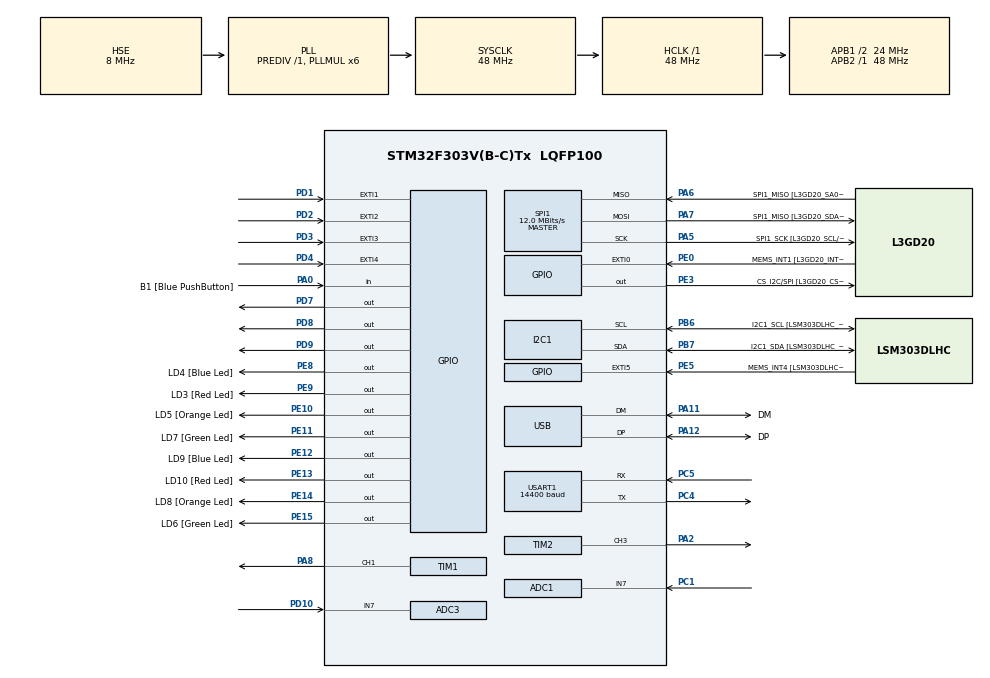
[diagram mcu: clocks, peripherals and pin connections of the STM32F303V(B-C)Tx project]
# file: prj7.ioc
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ADC1.Channel-1\#ChannelRegularConversion=ADC_CHANNEL_7
ADC1.NbrOfConversionFlag=1
ADC1.Offset-1\#ChannelRegularConversion=0
ADC1.OffsetNumber-1\#ChannelRegularConversion=ADC_OFFSET_NONE
ADC1.Rank-1\#ChannelRegularConversion=1
ADC1.SamplingTime-1\#ChannelRegularConversion=ADC_SAMPLETIME_1CYCLE_5
ADC1.SamplingTimeOPAMP-1\#ChannelRegularConversion=ADC_SAMPLETIME_19CYCLES_5
ADC1.master=1
ADC3.Channel-1\#ChannelRegularConversion=ADC_CHANNEL_7
ADC3.NbrOfConversionFlag=1
ADC3.Offset-1\#ChannelRegularConversion=0
ADC3.OffsetNumber-1\#ChannelRegularConversion=ADC_OFFSET_NONE
ADC3.Rank-1\#ChannelRegularConversion=1
ADC3.SamplingTime-1\#ChannelRegularConversion=ADC_SAMPLETIME_1CYCLE_5
ADC3.SamplingTimeOPAMP-1\#ChannelRegularConversion=ADC_SAMPLETIME_19CYCLES_5
ADC3.master=1
I2C1.Timing=0x2000090E
I2C1.Timing-I2C=0x2000090E
Mcu.Family=STM32F3
Mcu.Name=STM32F303V(B-C)Tx
Mcu.Package=LQFP100
NVIC.EXTI1_IRQn=true\:0\:0\:false\:false\:true\:true\:true\:true
NVIC.EXTI2_TSC_IRQn=true\:0\:0\:false\:false\:true\:true\:true\:true
NVIC.EXTI3_IRQn=true\:0\:0\:false\:false\:true\:true\:true\:true
NVIC.EXTI4_IRQn=true\:0\:0\:false\:false\:true\:true\:true\:true
NVIC.PriorityGroup=NVIC_PRIORITYGROUP_0
NVIC.TIM1_UP_TIM16_IRQn=true\:0\:0\:false\:false\:true\:true\:true\:true
NVIC.TIM6_DAC_IRQn=true\:0\:0\:false\:false\:true\:true\:true\:true
NVIC.TIM7_IRQn=true\:0\:0\:false\:false\:true\:true\:true\:true
NVIC.USART1_IRQn=true\:0\:0\:false\:false\:true\:true\:true\:true
PA0.GPIO_Label=B1 [Blue PushButton]
PA0.Signal=GPIO_Input
PA11.GPIO_Label=DM
PA11.Mode=Device
PA11.Signal=USB_DM
PA12.GPIO_Label=DP
PA12.Mode=Device
PA12.Signal=USB_DP
PA13.GPIO_Label=SWDIO
PA13.Mode=Serial_Wire
PA13.Signal=SYS_JTMS-SWDIO
PA14.GPIO_Label=SWCLK
PA14.Mode=Serial_Wire
PA14.Signal=SYS_JTCK-SWCLK
PA2.Signal=S_TIM2_CH3
PA5.GPIO_Label=SPI1_SCK [L3GD20_SCL/SPC]
PA5.Mode=Full_Duplex_Master
PA5.Signal=SPI1_SCK
PA6.GPIO_Label=SPI1_MISO [L3GD20_SA0/SDO]
PA6.Mode=Full_Duplex_Master
PA6.Signal=SPI1_MISO
PA7.GPIO_Label=SPI1_MISO [L3GD20_SDA/SDI/SDO]
PA7.Mode=Full_Duplex_Master
PA7.Signal=SPI1_MOSI
PA8.Signal=S_TIM1_CH1
PB3.GPIO_Label=SWO
PB3.Signal=SYS_JTDO-TRACESWO
PB6.GPIO_Label=I2C1_SCL [LSM303DLHC_SCL]
PB6.GPIO_Pu=GPIO_PULLUP
PB6.Mode=I2C
PB6.Signal=I2C1_SCL
PB7.GPIO_Label=I2C1_SDA [LSM303DLHC_SDA]
PB7.GPIO_Pu=GPIO_PULLUP
PB7.Mode=I2C
PB7.Signal=I2C1_SDA
PC1.Signal=ADCx_IN7
PC14-OSC32_IN.GPIO_Label=OSC32_IN
PC14-OSC32_IN.Signal=RCC_OSC32_IN
PC15-OSC32_OUT.GPIO_Label=OSC32_OUT
PC15-OSC32_OUT.Signal=RCC_OSC32_OUT
PC4.Mode=Asynchronous
PC4.Signal=USART1_TX
PC5.Mode=Asynchronous
PC5.Signal=USART1_RX
PD1.GPIO_ModeDefaultEXTI=GPIO_MODE_IT_RISING_FALLING
PD1.GPIO_PuPd=GPIO_PULLDOWN
PD1.Signal=GPXTI1
PD10.Signal=ADCx_IN7P
PD2.GPIO_ModeDefaultEXTI=GPIO_MODE_IT_RISING_FALLING
PD2.GPIO_PuPd=GPIO_PULLDOWN
PD2.Signal=GPXTI2
PD3.GPIO_ModeDefaultEXTI=GPIO_MODE_IT_RISING_FALLING
PD3.GPIO_PuPd=GPIO_PULLDOWN
PD3.Signal=GPXTI3
PD4.Signal=GPXTI4
PD7.GPIO_PuPd=GPIO_NOPULL
PD7.PinState=GPIO_PIN_RESET
PD7.Signal=GPIO_Output
PD8.Signal=GPIO_Output
PD9.Signal=GPIO_Output
PE0.GPIO_Label=MEMS_INT1 [L3GD20_INT1]
PE0.GPIO_ModeDefaultEXTI=GPIO_MODE_EVT_RISING
PE0.Signal=GPXTI0
PE10.GPIO_Label=LD5 [Orange Led]
PE10.Signal=GPIO_Output
PE11.GPIO_Label=LD7 [Green Led]
PE11.Signal=GPIO_Output
PE12.GPIO_Label=LD9 [Blue Led]
PE12.Signal=GPIO_Output
PE13.GPIO_Label=LD10 [Red Led]
PE13.Signal=GPIO_Output
PE14.GPIO_Label=LD8 [Orange Led]
PE14.Signal=GPIO_Output
PE15.GPIO_Label=LD6 [Green Led]
PE15.Signal=GPIO_Output
PE3.GPIO_Label=CS_I2C/SPI [L3GD20_CS_I2C/SPI]
PE3.Signal=GPIO_Output
PE5.GPIO_Label=MEMS_INT4 [LSM303DLHC_INT2]
PE5.GPIO_ModeDefaultEXTI=GPIO_MODE_EVT_RISING
PE5.Signal=GPXTI5
PE8.GPIO_Label=LD4 [Blue Led]
PE8.Signal=GPIO_Output
PE9.GPIO_Label=LD3 [Red Led]
PE9.Signal=GPIO_Output
PF0-OSC_IN.GPIO_Label=OSC_IN
PF0-OSC_IN.Mode=HSE-External-Clock-Source
PF0-OSC_IN.Signal=RCC_OSC_IN
PF1-OSC_OUT.GPIO_Label=OSC_OUT
PF1-OSC_OUT.Signal=RCC_OSC_OUT
ProjectManager.HeapSize=0x200
ProjectManager.StackSize=0x400
ProjectManager.TargetToolchain=STM32CubeIDE
RCC.AHBFreq_Value=48000000
RCC.APB1CLKDivider=RCC_HCLK_DIV2
RCC.APB1Freq_Value=24000000
RCC.APB1TimFreq_Value=48000000
RCC.APB2Freq_Value=48000000
RCC.APB2TimFreq_Value=48000000
RCC.CortexFreq_Value=48000000
RCC.HCLKFreq_Value=48000000
RCC.HSE_VALUE=8000000
RCC.HSI_VALUE=8000000
RCC.LSE_VALUE=32768
RCC.PLLMUL=RCC_PLL_MUL6
RCC.SYSCLKFreq_VALUE=48000000
RCC.SYSCLKSourceVirtual=RCC_SYSCLKSOURCE_PLLCLK
RCC.USBFreq_Value=48000000
SH.ADCx_IN7.0=ADC1_IN7,IN7-Single-Ended
SH.ADCx_IN7P.0=ADC3_IN7,IN7-Single-Ended
SH.S_TIM1_CH1.0=TIM1_CH1,PWM Generation1 CH1
SH.S_TIM2_CH3.0=TIM2_CH3,PWM Generation3 CH3
SPI1.BaudRatePrescaler=SPI_BAUDRATEPRESCALER_4
SPI1.BaudRatePrescaler-Full_Duplex_Master=SPI_BAUDRATEPRESCALER_2
SPI1.CalculateBaudRate=12.0 MBits/s
SPI1.CalculateBaudRate-Full_Duplex_Master=24.0 MBits/s
SPI1.Direction=SPI_DIRECTION_2LINES
SPI1.Mode=SPI_MODE_MASTER
SPI1.Mode-Full_Duplex_Master=SPI_MODE_MASTER
SPI1.VirtualType=VM_MASTER
TIM1.Channel-PWM\ Generation1\ CH1=TIM_CHANNEL_1
TIM16.Period=100-1
TIM16.Prescaler=4800-1
TIM2.Channel-PWM\ Generation3\ CH3=TIM_CHANNEL_3
TIM6.Period=100-1
TIM6.Prescaler=4800-1
TIM7.Period=100-1
TIM7.Prescaler=4800-1
USART1.BaudRate=14400
USART1.VirtualMode-Asynchronous=VM_ASYNC
VP_TIM16_VS_ClockSourceINT.Mode=Enable_Timer
VP_TIM1_VS_ClockSourceINT.Mode=Internal
VP_TIM2_VS_ClockSourceINT.Mode=Internal
VP_TIM6_VS_ClockSourceINT.Mode=Enable_Timer
VP_TIM7_VS_ClockSourceINT.Mode=Enable_Timer
board=STM32F3DISCOVERY

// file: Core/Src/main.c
/* USER CODE BEGIN Header */
/**
  ******************************************************************************
  * @file           : main.c
  * @brief          : Main program body
  ******************************************************************************
  * @attention
  *
  * Copyright (c) 2024 STMicroelectronics.
  * All rights reserved.
  *
  * This software is licensed under terms that can be found in the LICENSE file
  * in the root directory of this software component.
  * If no LICENSE file comes with this software, it is provided AS-IS.
  *
  ******************************************************************************
  */
/* USER CODE END Header */
#include "main.h"

/* USER CODE BEGIN Includes */
#include <string.h>
#include <ctype.h>
#include <stdlib.h>
#include <math.h>
/* USER CODE END Includes */

/* USER CODE BEGIN PD */
#define DEBOUNCE_TIME 100
#define PI 3.14159265
/* USER CODE END PD */

ADC_HandleTypeDef hadc1;
ADC_HandleTypeDef hadc3;

I2C_HandleTypeDef hi2c1;

SPI_HandleTypeDef hspi1;

TIM_HandleTypeDef htim1;
TIM_HandleTypeDef htim2;
TIM_HandleTypeDef htim6;
TIM_HandleTypeDef htim7;
TIM_HandleTypeDef htim16;

UART_HandleTypeDef huart1;

PCD_HandleTypeDef hpcd_USB_FS;

void SystemClock_Config(void);
static void MX_GPIO_Init(void);
static void MX_I2C1_Init(void);
static void MX_SPI1_Init(void);
static void MX_USB_PCD_Init(void);
static void MX_USART1_UART_Init(void);
static void MX_TIM6_Init(void);
static void MX_ADC1_Init(void);
static void MX_ADC3_Init(void);
static void MX_TIM2_Init(void);
static void MX_TIM1_Init(void);
static void MX_TIM7_Init(void);
static void MX_TIM16_Init(void);

/* USER CODE BEGIN 0 */
uint8_t data[100];
uint8_t d;
uint8_t i = 0;
int state = 0;
char real_username[5];
char real_password[100];
char userinput_password[100];
int real_password_length = 0;
int real_password_ptr = 0;
int userinput_pass_ptr = 0;
int ldr_threshold = 500;
int is_day = 1;
int volume  = 500;
int wrong_input = 0;
TIM_HandleTypeDef *pwm_timer2  = &htim2;
TIM_HandleTypeDef *pwm_timer1 = &htim1;
uint32_t pwm_channel3 = TIM_CHANNEL_3;
uint32_t pwm_channel1 = TIM_CHANNEL_1;

int led3_last_enter_time  = 0;
int led3_intensity = 0;
int buz_last_enter_time = 0;
int freq = 0;
int buzzer_mode = 1;
int cnt_buzzer = 0;

void PWM_Start(){
	HAL_TIM_PWM_Start(pwm_timer2,pwm_channel3);
	HAL_TIM_PWM_Start(pwm_timer1,pwm_channel1);
}

void PWM_Change_Tone(uint16_t pwm_freq,uint16_t volume){
	if (pwm_freq == 0 || pwm_freq > 20000){
		__HAL_TIM_SET_COMPARE(pwm_timer2,pwm_channel3,0);
	}
	else{
		const uint32_t internal_clock_freq = HAL_RCC_GetSysClockFreq();
		const uint16_t prescaler = 1 + internal_clock_freq / pwm_freq / 60000;
		const uint32_t timer_clock = internal_clock_freq / prescaler;
		const uint32_t period_cycles = timer_clock / pwm_freq;
		const uint32_t pulse_width = volume * period_cycles / 1000 / 2;

		pwm_timer2->Instance->PSC = prescaler - 1;
		pwm_timer2->Instance->ARR = period_cycles - 1;
		pwm_timer2->Instance->EGR = TIM_EGR_UG;
		__HAL_TIM_SET_COMPARE(pwm_timer2,pwm_channel3,pulse_width);
	}
}

void PWM_Change_LED (uint16_t intensity){ // 0 to 1000
	if (intensity < 0 || intensity > 1000){
		return;
	}
	else{
	__HAL_TIM_SET_COMPARE(pwm_timer1,pwm_channel1,intensity);
	}
}

void state1_uart (int i){ // waiting for entering username for the first time
	if (i == 5){
		if (isalpha(data[0]) && isalpha(data[1]) && isalpha(data[2]) && isalpha(data[3])){
			real_username[0] = data[0];
			real_username[1] = data[1];
			real_username[2] = data[2];
			real_username[3] = data[3];
			real_username[4] = '\0';
			state = 2;
			char response[] = "NOW ENTER YOUR PASSWORD !\n";
			HAL_UART_Transmit(&huart1, response, strlen(response), HAL_MAX_DELAY);
		}
		else{
			char error[] = "INVALID USERNAME! MUST BE ALPHABETIC \n";
			HAL_UART_Transmit(&huart1, error, strlen(error), HAL_MAX_DELAY);
		}
	}
	else{
		char error[] = "INVALID USERNAME! MUST BE SIZE 4\n";
		HAL_UART_Transmit(&huart1, error, strlen(error), HAL_MAX_DELAY);
	}
}

void state2_uart (int i){ // waiting for entering password for the first time
	if (i == 5){
		if (data[0] == 'd' && data[1] == 'o' && data[2] == 'n'  && data[3] == 'e'){
			if (real_password_ptr < 3){
				char error[] = "INVALID PASSWORD! MUST BE AT LEAST SIZE 3 - PLEASE TRY AGAIN\n";
				HAL_UART_Transmit(&huart1, error, strlen(error), HAL_MAX_DELAY);
				real_password_ptr = 0;
			}
			else{
				real_password_length = real_password_ptr;
				real_password[real_password_ptr] = '\0';
				char response[200];
				sprintf(response,"PASSWORD SET TO : %s\n\0", real_password);
				HAL_UART_Transmit(&huart1, response, strlen(response), HAL_MAX_DELAY);
				state = 3;
				char response2[] = "MENU :\n1 - ON\n2 - OFF\n";
				HAL_UART_Transmit(&huart1, response2, strlen(response2), HAL_MAX_DELAY);
			}
		}
		else{
			char error[] = "INVALID COMMAND\n";
			HAL_UART_Transmit(&huart1, error, strlen(error), HAL_MAX_DELAY);
		}
	}
	else{
		char error[] = "INVALID COMMAND\n";
		HAL_UART_Transmit(&huart1, error, strlen(error), HAL_MAX_DELAY);
	}
}

void state3_uart (int i){ // menu ; can on or off system
	if (i == 3){
		if (data[0] = 'O' && data[1] == 'N'){
			char response[] = "PLEASE ENTER USERNAME :\n";
			HAL_UART_Transmit(&huart1, response, strlen(response), HAL_MAX_DELAY);
			state = 5;
		}
		else{
			char error[] = "INVALID COMMAND\n";
			HAL_UART_Transmit(&huart1, error, strlen(error), HAL_MAX_DELAY);
		}
	}
	else if (i == 4){
		if (data[0] == 'O' && data[1] == 'F' && data[2] == 'F'){
			char response[] = "SYSTEM IS NOW OFF!\nFOR TURNING ON SYSTEM,ENTER COMMAND -ON\n";
			HAL_UART_Transmit(&huart1, response, strlen(response), HAL_MAX_DELAY);
			state = 4;
		}
		else{
			char error[] = "INVALID COMMAND\n";
			HAL_UART_Transmit(&huart1, error, strlen(error), HAL_MAX_DELAY);
		}
	}
	else{
		char error[] = "INVALID COMMAND\n";
		HAL_UART_Transmit(&huart1, error, strlen(error), HAL_MAX_DELAY);
	}
}

void state4_uart (int i){ // in off mode ; waiting for on mode
	if (i == 3){
		if (data[0] == 'O'  && data[1] == 'N'){
			state = 5;
			char response[] = "PLEASE ENTER USERNAME : \n";
			HAL_UART_Transmit(&huart1, response, strlen(response), HAL_MAX_DELAY);
		}
		else{
			char error[] = "INVALID COMMAND\n";
			HAL_UART_Transmit(&huart1, error, strlen(error), HAL_MAX_DELAY);
		}
	}
	else{
		char error[] = "INVALID COMMAND\n";
		HAL_UART_Transmit(&huart1, error, strlen(error), HAL_MAX_DELAY);
	}
}

void state5_uart (int i){ // entered on ; waiting for enter username
	if (i == 5){
		if (data[0] == real_username[0] && data[1] == real_username[1] && data[2] == real_username[2] && data[3] == real_username[3] ){
			char response[] = "PLEASE ENTER PASSWORD WITH BUTTONS THEN ENTER done :\n";
			HAL_UART_Transmit(&huart1, response, strlen(response), HAL_MAX_DELAY);
			state = 6;
		}
		else{
			char error[] = "INVALID USERNAME\n";
			HAL_UART_Transmit(&huart1, error, strlen(error), HAL_MAX_DELAY);
		}
	}
	else{
		char error[] = "INVALID USERNAME\n";
		HAL_UART_Transmit(&huart1, error, strlen(error), HAL_MAX_DELAY);
	}
}

void state6_uart (int i){ // entered on then entered correct username , now waiting for enter correct password
	if (i == 5){
		char check[] = "done";
		if ( strncmp (data,check,4) == 0){
			userinput_password[userinput_pass_ptr] = '\0';
			if (userinput_pass_ptr == real_password_length){
				if (strncmp (userinput_password,real_password,real_password_length) == 0){
					char response [] = "SYSTEM IS NOW ON ! ENJOY SECURITY !\n";
					HAL_UART_Transmit(&huart1, response, strlen(response), HAL_MAX_DELAY);
					state = 7;
					userinput_pass_ptr = 0;
				}
				else{
					userinput_password[userinput_pass_ptr] = '\0';
					userinput_pass_ptr = 0;
					char error [100] ;
					sprintf (error,"%s PASSWORD IS NOT CORRECT ! TRY AGAIN \n",userinput_password);
					HAL_UART_Transmit(&huart1, error, strlen(error), HAL_MAX_DELAY);
				}
			}
			else{
				userinput_password[userinput_pass_ptr] = '\0';
				userinput_pass_ptr = 0;
				char error [100] ;
				sprintf (error,"%s PASSWORD IS NOT CORRECT ! TRY AGAIN \n",userinput_password);
				HAL_UART_Transmit(&huart1, error, strlen(error), HAL_MAX_DELAY);
			}
		}
		else{
			char error[] = "INVALID COMMAND\n";
			HAL_UART_Transmit(&huart1, error, strlen(error), HAL_MAX_DELAY);
		}
	}
	else{
		char error[] = "INVALID COMMAND\n";
		HAL_UART_Transmit(&huart1, error, strlen(error), HAL_MAX_DELAY);
	}
}

void state7_uart (int i) { // system is on ; not alert mode ;
	if (i == 4){
		if (data[0] == 'O' && data[1] == 'F' && data[2] == 'F'){
			char response[] = "SYSTEM IS NOW OFF \n";
			HAL_UART_Transmit(&huart1, response, strlen(response), HAL_MAX_DELAY);
			state = 4;
		}
		else{
			char error[] = "INVALID-COMMAN\nD";
			HAL_UART_Transmit(&huart1, error, strlen(error), HAL_MAX_DELAY);
		}
	}
	else if (i >= 17 && i <= 19){
		char check[] = "SET-THRESHOLD";
		if (strncmp (data,check,13) == 0){
			if (data[13] == '(' && data[i-2] == ')'){
				int flag = 0 ;
				for (int ii = 14 ; ii < i-2 ; ii++){
					if (!isdigit(data[ii])){
						flag = 1;
					}
				}
				if (flag){
					char error[] = "VALUE MUST BE NUMERIC !\n";
					HAL_UART_Transmit(&huart1, error, strlen(error), HAL_MAX_DELAY);
				}
				else{
					if (i == 17){
						int result = (data[14]-'0');
						ldr_threshold = result*10;
						char response[100];
						sprintf(response,"THRESHOLD SET TO %lu\n",result);
						HAL_UART_Transmit(&huart1, response, strlen(response), HAL_MAX_DELAY);
					}
					else if (i == 18){
						int result  = (data[14]-'0')*10;
						result += (data[15]-'0');
						ldr_threshold = result*10;
						char response[100];
						sprintf(response,"THRESHOLD SET TO %lu\n",result);
						HAL_UART_Transmit(&huart1, response, strlen(response), HAL_MAX_DELAY);
					}
					else{
						int result  = (data[14]-'0')*100;
						result += (data[15]-'0')*10;
						result += (data[16]-'0');
						if (result > 100){
							char error[] = "VALUE MUST BE IN RANGE (0,100)\n";
							HAL_UART_Transmit(&huart1, error, strlen(error), HAL_MAX_DELAY);
						}
						else{
							char response[100];
							sprintf(response,"THRESHOLD SET TO %lu\n",result);
							HAL_UART_Transmit(&huart1, response, strlen(response), HAL_MAX_DELAY);
							ldr_threshold = result * 10;
						}
					}
				}
			}
			else{
				char error[] = "FORGOT PARANTHESIS\n";
				HAL_UART_Transmit(&huart1, error, strlen(error), HAL_MAX_DELAY);
			}
		}
		else{
			char error[] = "INVALID-COMMAND\n";
			HAL_UART_Transmit(&huart1, error, strlen(error), HAL_MAX_DELAY);
		}
	}
	else{
		char error[] = "INVALID-COMMAND\n";
		HAL_UART_Transmit(&huart1, error, strlen(error), HAL_MAX_DELAY);
	}
}

void state8_uart(int i){ // alert mode ; day ; waiting for username enter
	if (i == 5){
		if (data[0] == real_username[0] && data[1] == real_username[1] && data[2] == real_username[2] && data[3] == real_username[3] ){
			char response[] = "PLEASE ENTER PASSWORD WITH BUTTONS THEN ENTER done :\n";
			HAL_UART_Transmit(&huart1, response, strlen(response), HAL_MAX_DELAY);
			state = 9;
		}
		else{
			wrong_input++;
			char error[] = "INVALID USERNAME\n";
			HAL_UART_Transmit(&huart1, error, strlen(error), HAL_MAX_DELAY);
		}
	}
	else{
		wrong_input++;
		char error[] = "INVALID USERNAME\n";
		HAL_UART_Transmit(&huart1, error, strlen(error), HAL_MAX_DELAY);
	}
}

void state9_uart(int i){ // alert mode ; day  waiting for password
	if (i == 5){
		char check[] = "done";
		if ( strncmp (data,check,4) == 0){
			userinput_password[userinput_pass_ptr] = '\0';
			if (userinput_pass_ptr == real_password_length){
				if (strncmp (userinput_password,real_password,real_password_length) == 0){
					char response [] = "SYSTEM IS NOW ON ! ENJOY SECURITY !\n";
					HAL_UART_Transmit(&huart1, response, strlen(response), HAL_MAX_DELAY);
					state = 7;
					userinput_pass_ptr = 0;
					wrong_input = 0;
				}
				else{
					userinput_password[userinput_pass_ptr] = '\0';
					userinput_pass_ptr = 0;
					char error [100] ;
					sprintf (error,"%s PASSWORD IS NOT CORRECT ! TRY AGAIN \n",userinput_password);
					HAL_UART_Transmit(&huart1, error, strlen(error), HAL_MAX_DELAY);
					wrong_input++;
				}
			}
			else{
				userinput_password[userinput_pass_ptr] = '\0';
				userinput_pass_ptr = 0;
				char error [100] ;
				sprintf (error,"%s PASSWORD IS NOT CORRECT ! TRY AGAIN \n",userinput_password);
				HAL_UART_Transmit(&huart1, error, strlen(error), HAL_MAX_DELAY);
				wrong_input++;
			}
		}
		else{
			char error[] = "INVALID COMMAND\n";
			HAL_UART_Transmit(&huart1, error, strlen(error), HAL_MAX_DELAY);
		}
	}
	else{
		char error[] = "INVALID COMMAND\n";
		HAL_UART_Transmit(&huart1, error, strlen(error), HAL_MAX_DELAY);
	}
}

void state10_uart (int i){
	if (i == 5){
		if (data[0] == real_username[0] && data[1] == real_username[1] && data[2] == real_username[2] && data[3] == real_username[3] ){
			char response[] = "PLEASE ENTER PASSWORD WITH BUTTONS THEN ENTER done :\n";
			HAL_UART_Transmit(&huart1, response, strlen(response), HAL_MAX_DELAY);
			state = 11;
		}
		else{
			wrong_input++;
			char error[] = "INVALID USERNAME\n";
			HAL_UART_Transmit(&huart1, error, strlen(error), HAL_MAX_DELAY);
		}
	}
	else{
		wrong_input++;
		char error[] = "INVALID USERNAME\n";
		HAL_UART_Transmit(&huart1, error, strlen(error), HAL_MAX_DELAY);
	}
}

void state11_uart (int i){
	if (i == 5){
		char check[] = "done";
		if ( strncmp (data,check,4) == 0){
			userinput_password[userinput_pass_ptr] = '\0';
			if (userinput_pass_ptr == real_password_length){
				if (strncmp (userinput_password,real_password,real_password_length) == 0){
					char response [] = "SYSTEM IS NOW ON ! ENJOY SECURITY !\n";
					HAL_UART_Transmit(&huart1, response, strlen(response), HAL_MAX_DELAY);
					state = 7;
					userinput_pass_ptr = 0;
					wrong_input = 0;
				}
				else{
					userinput_password[userinput_pass_ptr] = '\0';
					userinput_pass_ptr = 0;
					char error [100] ;
					sprintf (error,"%s PASSWORD IS NOT CORRECT ! TRY AGAIN \n",userinput_password);
					HAL_UART_Transmit(&huart1, error, strlen(error), HAL_MAX_DELAY);
					wrong_input++;
				}
			}
			else{
				userinput_password[userinput_pass_ptr] = '\0';
				userinput_pass_ptr = 0;
				char error [100] ;
				sprintf (error,"%s PASSWORD IS NOT CORRECT ! TRY AGAIN \n",userinput_password);
				HAL_UART_Transmit(&huart1, error, strlen(error), HAL_MAX_DELAY);
				wrong_input++;
			}
		}
		else{
			char error[] = "INVALID COMMAND\n";
			HAL_UART_Transmit(&huart1, error, strlen(error), HAL_MAX_DELAY);
		}
	}
	else{
		char error[] = "INVALID COMMAND\n";
		HAL_UART_Transmit(&huart1, error, strlen(error), HAL_MAX_DELAY);
	}
}

void HAL_UART_RxCpltCallback(UART_HandleTypeDef *huart) {
	if (huart->Instance == USART1) {
		HAL_UART_Receive_IT(&huart1, &d, 1);
		data[i++] = d;
		if (d == '\n') {
			data[i] = '\0';
			if (state == 1){
				state1_uart(i);
			}
			else if (state == 2){
				state2_uart(i);
			}
			else if (state == 3){
				state3_uart(i);
			}
			else if (state == 4){
				state4_uart(i);
			}
			else if (state == 5){
				state5_uart(i);
			}
			else if (state == 6){
				state6_uart(i);
			}
			else if (state == 7){
				state7_uart(i);
			}
			else if (state == 8){
				state8_uart(i);
			}
			else if (state == 9){
				state9_uart(i);
			}
			else if (state == 10){
				state10_uart(i);
			}
			else if (state == 11){
				state11_uart(i);
			}
			i = 0;
		}
	}
}

void HAL_GPIO_EXTI_Callback(uint16_t GPIO_Pin){
	if(GPIO_Pin == GPIO_PIN_1){ // pin 1 triggered
		static uint32_t last_enter_time = 0;
		if (HAL_GPIO_ReadPin(GPIOD, GPIO_PIN_1)){ // rising edge
			if (HAL_GetTick() - last_enter_time < DEBOUNCE_TIME){
				return;
			}
			else{
				last_enter_time = HAL_GetTick();
			}
		}
		else { // falling edge
			if (HAL_GetTick() - last_enter_time < DEBOUNCE_TIME){// debounce
				return;
			}
			else { //short press
				last_enter_time = HAL_GetTick();
				if (state == 2){
					real_password[real_password_ptr] = '1';
					real_password_ptr++;
				}
				if (state == 6){
					userinput_password[userinput_pass_ptr] = '1';
					userinput_pass_ptr++;
				}

			}
		}

	}
	if(GPIO_Pin == GPIO_PIN_2){ // pin 2 triggered
		static uint32_t last_enter_time2 = 0;
		if (HAL_GPIO_ReadPin(GPIOD, GPIO_PIN_2)){ // rising edge
			if (HAL_GetTick() - last_enter_time2 < DEBOUNCE_TIME){
				return;
			}
			else{
				last_enter_time2 = HAL_GetTick();
			}
		}
		else{ // falling edge
			if (HAL_GetTick() - last_enter_time2 < DEBOUNCE_TIME){// debounce
				return;
			}
			else { //short press
				last_enter_time2 = HAL_GetTick();
				if (state == 2){
					real_password[real_password_ptr] = '2';
					real_password_ptr++;
				}
				if (state == 6){
					userinput_password[userinput_pass_ptr] = '2';
					userinput_pass_ptr++;
				}
			}
		}

	}
	if(GPIO_Pin == GPIO_PIN_3){ // pin 3 triggered
		static uint32_t last_enter_time3 = 0;
		if (HAL_GPIO_ReadPin(GPIOD, GPIO_PIN_3)){ // rising edge
			if (HAL_GetTick() - last_enter_time3 < DEBOUNCE_TIME){
				return;
			}
			else{
				last_enter_time3 = HAL_GetTick();
			}
		}
		else{ // falling edge
			if (HAL_GetTick() - last_enter_time3 < DEBOUNCE_TIME){// debounce
				return;
			}
			else { //short press
				last_enter_time3 = HAL_GetTick();
				if (state == 2){
					real_password[real_password_ptr] = '3';
					real_password_ptr++;
				}
				if (state == 6){
					userinput_password[userinput_pass_ptr] = '3';
					userinput_pass_ptr++;
				}
			}
		}

	}
	if (GPIO_Pin == GPIO_PIN_4){ // pin 4 triggered (PIR)
		if (HAL_GPIO_ReadPin(GPIOD, GPIO_PIN_4)){
			if (state == 7 && is_day == 1){
				state = 8;
				HAL_GPIO_WritePin(GPIOD, GPIO_PIN_7, 0);
				char response [] = "SUSPICIOUS MOVEMENT !\nPLEASE ENTER USERNAME : \n";
				HAL_UART_Transmit(&huart1, response, strlen(response), HAL_MAX_DELAY);
			}
			else if (state == 7 && is_day == 0){
				state = 10;
				HAL_GPIO_WritePin(GPIOD, GPIO_PIN_7, 0);
				char response [] = "SUSPICIOUS MOVEMENT !\nPLEASE ENTER USERNAME : \n";
				HAL_UART_Transmit(&huart1, response, strlen(response), HAL_MAX_DELAY);
			}
		}
	}
}

void HAL_TIM_PeriodElapsedCallback(TIM_HandleTypeDef *htim) {
	if (htim->Instance == TIM6){ // LED 1 -2
		if (state <= 5){
			HAL_GPIO_WritePin(GPIOD, GPIO_PIN_8, 1);
			HAL_GPIO_WritePin(GPIOD, GPIO_PIN_9, 0);
		}
		else if (state == 6){
			HAL_GPIO_WritePin(GPIOD, GPIO_PIN_8, 0);
			HAL_GPIO_WritePin(GPIOD, GPIO_PIN_9, 1);
		}
		else{
			HAL_GPIO_WritePin(GPIOD, GPIO_PIN_8, 0);
			HAL_GPIO_WritePin(GPIOD, GPIO_PIN_9, 0);
		}
	}
	if (htim->Instance == TIM7){ // LED3
		if (state == 7){
			if (HAL_GetTick() - led3_last_enter_time >= 500){
				if (led3_intensity == 1000){
					led3_intensity = 0;
					PWM_Change_LED(0);
					led3_last_enter_time = HAL_GetTick();
				}
				else{
					led3_last_enter_time = HAL_GetTick();
					led3_intensity = 1000;
					PWM_Change_LED(0);
				}
			}
		}
		if (state == 8 || state == 9){ // LED3
			if (HAL_GetTick() - led3_last_enter_time >= 300){
				if (led3_intensity < 1000){
					led3_intensity+=200;
					PWM_Change_LED(led3_intensity);
					led3_last_enter_time = HAL_GetTick();
				}
				else if ( led3_intensity < 2000){
					led3_intensity+=200;
					PWM_Change_LED(2000 - led3_intensity);
					led3_last_enter_time = HAL_GetTick();
				}
				else{
					PWM_Change_LED(0);
					led3_last_enter_time = HAL_GetTick();
				}
			}
		}
		else if (state == 10 || state == 11){
			if (led3_intensity < 1000){
				led3_intensity+=200;
				PWM_Change_LED(led3_intensity);
				led3_last_enter_time = HAL_GetTick();
			}
			else if ( led3_intensity < 2000){
				led3_intensity+=200;
				PWM_Change_LED(2000 - led3_intensity);
				led3_last_enter_time = HAL_GetTick();
			}
			else{
				PWM_Change_LED(0);
				led3_last_enter_time = HAL_GetTick();
			}

		}
		else{
			PWM_Change_LED(0);
		}
	}
	if (htim->Instance == TIM16){
//		if (state == 10 || state == 11){ // night-alert
//			if (buz_last_enter_time == 0){
//				buz_last_enter_time = HAL_GetTick();
//			}
//			if (buzzer_mode == 1){
//				if (HAL_GetTick() - buz_last_enter_time >= 5000){
//					buzzer_mode = 2;
//					buz_last_enter_time = HAL_GetTick();
//				}
//				int temp = (HAL_GetTick() - buz_last_enter_time)/500;
//				if (temp % 2 == 1){
//					PWM_Change_Tone(500, volume);
//				}
//				else{
//					PWM_Change_Tone(1000, volume);
//				}
//			}
//			else if (buzzer_mode == 2){
//				if (HAL_GetTick() - buz_last_enter_time >= 6000){
//					buzzer_mode = 3;
//					buz_last_enter_time = HAL_GetTick();
//					cnt_buzzer =0;
//				}
//				cnt_buzzer++;
//				if (cnt_buzzer >= 200){
//					cnt_buzzer = 0;
//				}
//				PWM_Change_Tone(cnt_buzzer*10, volume);
//			}
//			else if (buzzer_mode == 3){
//				if (HAL_GetTick() - buz_last_enter_time >= 6000){
//					buzzer_mode = 1;
//					buz_last_enter_time = HAL_GetTick();
//					cnt_buzzer = 0;
//				}
//				cnt_buzzer++;
//				PWM_Change_Tone(sin(cnt_buzzer*PI/180), volume);
//
//			}
//
//		}
		PWM_Change_Tone(1000, volume);
	}
}

void HAL_ADC_ConvCpltCallback (ADC_HandleTypeDef* hadc){
	if (hadc->Instance == ADC1){
		uint32_t value;
		value = HAL_ADC_GetValue(hadc);
		if (value < ldr_threshold){
			is_day = 0;
		}
		else{
			is_day = 1;
		}

	}
	if (hadc->Instance == ADC3){
//		uint32_t value2;
//		value2 = HAL_ADC_GetValue(hadc);
//		int temp = (value2/10)-2;
//		volume = (temp*10);
	}
}
/* USER CODE END 0 */

int main(void)
{

  /* MCU Configuration--------------------------------------------------------*/

  /* Reset of all peripherals, Initializes the Flash interface and the Systick. */
  HAL_Init();

  /* Configure the system clock */
  SystemClock_Config();

  /* Initialize all configured peripherals */
  MX_GPIO_Init();
  MX_I2C1_Init();
  MX_SPI1_Init();
  MX_USB_PCD_Init();
  MX_USART1_UART_Init();
  MX_TIM6_Init();
  MX_ADC1_Init();
  MX_ADC3_Init();
  MX_TIM2_Init();
  MX_TIM1_Init();
  MX_TIM7_Init();
  MX_TIM16_Init();
  /* USER CODE BEGIN 2 */

  HAL_ADC_Start_IT(&hadc3);

  HAL_TIM_Base_Start_IT(&htim6);
  HAL_TIM_Base_Start_IT(&htim7);
  HAL_TIM_Base_Start(&htim16);

  HAL_ADC_Start_IT(&hadc1);

  HAL_GPIO_WritePin(GPIOD, GPIO_PIN_7, 0);
  char setuser[] = "PLEASE SET YOUR USERNAME :\n";
  HAL_UART_Transmit(&huart1, setuser, strlen(setuser), HAL_MAX_DELAY);
  state = 1;
  HAL_UART_Receive_IT(&huart1, &d, 1);
  PWM_Start();

  /* USER CODE END 2 */

  /* Infinite loop */
  while (1)
  {

  }
}

void SystemClock_Config(void)
{
  RCC_OscInitTypeDef RCC_OscInitStruct = {0};
  RCC_ClkInitTypeDef RCC_ClkInitStruct = {0};
  RCC_PeriphCLKInitTypeDef PeriphClkInit = {0};

  /** Initializes the RCC Oscillators according to the specified parameters
  * in the RCC_OscInitTypeDef structure.
  */
  RCC_OscInitStruct.OscillatorType = RCC_OSCILLATORTYPE_HSI|RCC_OSCILLATORTYPE_HSE;
  RCC_OscInitStruct.HSEState = RCC_HSE_BYPASS;
  RCC_OscInitStruct.HSEPredivValue = RCC_HSE_PREDIV_DIV1;
  RCC_OscInitStruct.HSIState = RCC_HSI_ON;
  RCC_OscInitStruct.HSICalibrationValue = RCC_HSICALIBRATION_DEFAULT;
  RCC_OscInitStruct.PLL.PLLState = RCC_PLL_ON;
  RCC_OscInitStruct.PLL.PLLSource = RCC_PLLSOURCE_HSE;
  RCC_OscInitStruct.PLL.PLLMUL = RCC_PLL_MUL6;
  if (HAL_RCC_OscConfig(&RCC_OscInitStruct) != HAL_OK)
  {
    Error_Handler();
  }

  /** Initializes the CPU, AHB and APB buses clocks
  */
  RCC_ClkInitStruct.ClockType = RCC_CLOCKTYPE_HCLK|RCC_CLOCKTYPE_SYSCLK
                              |RCC_CLOCKTYPE_PCLK1|RCC_CLOCKTYPE_PCLK2;
  RCC_ClkInitStruct.SYSCLKSource = RCC_SYSCLKSOURCE_PLLCLK;
  RCC_ClkInitStruct.AHBCLKDivider = RCC_SYSCLK_DIV1;
  RCC_ClkInitStruct.APB1CLKDivider = RCC_HCLK_DIV2;
  RCC_ClkInitStruct.APB2CLKDivider = RCC_HCLK_DIV1;

  if (HAL_RCC_ClockConfig(&RCC_ClkInitStruct, FLASH_LATENCY_1) != HAL_OK)
  {
    Error_Handler();
  }
  PeriphClkInit.PeriphClockSelection = RCC_PERIPHCLK_USB|RCC_PERIPHCLK_USART1
                              |RCC_PERIPHCLK_I2C1|RCC_PERIPHCLK_TIM1
                              |RCC_PERIPHCLK_ADC12|RCC_PERIPHCLK_ADC34;
  PeriphClkInit.Usart1ClockSelection = RCC_USART1CLKSOURCE_PCLK2;
  PeriphClkInit.Adc12ClockSelection = RCC_ADC12PLLCLK_DIV1;
  PeriphClkInit.Adc34ClockSelection = RCC_ADC34PLLCLK_DIV1;
  PeriphClkInit.I2c1ClockSelection = RCC_I2C1CLKSOURCE_HSI;
  PeriphClkInit.USBClockSelection = RCC_USBCLKSOURCE_PLL;
  PeriphClkInit.Tim1ClockSelection = RCC_TIM1CLK_HCLK;
  if (HAL_RCCEx_PeriphCLKConfig(&PeriphClkInit) != HAL_OK)
  {
    Error_Handler();
  }
}

static void MX_ADC1_Init(void)
{

  ADC_MultiModeTypeDef multimode = {0};
  ADC_ChannelConfTypeDef sConfig = {0};

  /** Common config
  */
  hadc1.Instance = ADC1;
  hadc1.Init.ClockPrescaler = ADC_CLOCK_ASYNC_DIV1;
  hadc1.Init.Resolution = ADC_RESOLUTION_12B;
  hadc1.Init.ScanConvMode = ADC_SCAN_DISABLE;
  hadc1.Init.ContinuousConvMode = DISABLE;
  hadc1.Init.DiscontinuousConvMode = DISABLE;
  hadc1.Init.ExternalTrigConvEdge = ADC_EXTERNALTRIGCONVEDGE_NONE;
  hadc1.Init.ExternalTrigConv = ADC_SOFTWARE_START;
  hadc1.Init.DataAlign = ADC_DATAALIGN_RIGHT;
  hadc1.Init.NbrOfConversion = 1;
  hadc1.Init.DMAContinuousRequests = DISABLE;
  hadc1.Init.EOCSelection = ADC_EOC_SINGLE_CONV;
  hadc1.Init.LowPowerAutoWait = DISABLE;
  hadc1.Init.Overrun = ADC_OVR_DATA_OVERWRITTEN;
  if (HAL_ADC_Init(&hadc1) != HAL_OK)
  {
    Error_Handler();
  }

  /** Configure the ADC multi-mode
  */
  multimode.Mode = ADC_MODE_INDEPENDENT;
  if (HAL_ADCEx_MultiModeConfigChannel(&hadc1, &multimode) != HAL_OK)
  {
    Error_Handler();
  }

  /** Configure Regular Channel
  */
  sConfig.Channel = ADC_CHANNEL_7;
  sConfig.Rank = ADC_REGULAR_RANK_1;
  sConfig.SingleDiff = ADC_SINGLE_ENDED;
  sConfig.SamplingTime = ADC_SAMPLETIME_1CYCLE_5;
  sConfig.OffsetNumber = ADC_OFFSET_NONE;
  sConfig.Offset = 0;
  if (HAL_ADC_ConfigChannel(&hadc1, &sConfig) != HAL_OK)
  {
    Error_Handler();
  }

}

static void MX_ADC3_Init(void)
{

  ADC_MultiModeTypeDef multimode = {0};
  ADC_ChannelConfTypeDef sConfig = {0};

  /** Common config
  */
  hadc3.Instance = ADC3;
  hadc3.Init.ClockPrescaler = ADC_CLOCK_ASYNC_DIV1;
  hadc3.Init.Resolution = ADC_RESOLUTION_12B;
  hadc3.Init.ScanConvMode = ADC_SCAN_DISABLE;
  hadc3.Init.ContinuousConvMode = DISABLE;
  hadc3.Init.DiscontinuousConvMode = DISABLE;
  hadc3.Init.ExternalTrigConvEdge = ADC_EXTERNALTRIGCONVEDGE_NONE;
  hadc3.Init.ExternalTrigConv = ADC_SOFTWARE_START;
  hadc3.Init.DataAlign = ADC_DATAALIGN_RIGHT;
  hadc3.Init.NbrOfConversion = 1;
  hadc3.Init.DMAContinuousRequests = DISABLE;
  hadc3.Init.EOCSelection = ADC_EOC_SINGLE_CONV;
  hadc3.Init.LowPowerAutoWait = DISABLE;
  hadc3.Init.Overrun = ADC_OVR_DATA_OVERWRITTEN;
  if (HAL_ADC_Init(&hadc3) != HAL_OK)
  {
    Error_Handler();
  }

  /** Configure the ADC multi-mode
  */
  multimode.Mode = ADC_MODE_INDEPENDENT;
  if (HAL_ADCEx_MultiModeConfigChannel(&hadc3, &multimode) != HAL_OK)
  {
    Error_Handler();
  }

  /** Configure Regular Channel
  */
  sConfig.Channel = ADC_CHANNEL_7;
  sConfig.Rank = ADC_REGULAR_RANK_1;
  sConfig.SingleDiff = ADC_SINGLE_ENDED;
  sConfig.SamplingTime = ADC_SAMPLETIME_1CYCLE_5;
  sConfig.OffsetNumber = ADC_OFFSET_NONE;
  sConfig.Offset = 0;
  if (HAL_ADC_ConfigChannel(&hadc3, &sConfig) != HAL_OK)
  {
    Error_Handler();
  }

}

static void MX_I2C1_Init(void)
{

  hi2c1.Instance = I2C1;
  hi2c1.Init.Timing = 0x2000090E;
  hi2c1.Init.OwnAddress1 = 0;
  hi2c1.Init.AddressingMode = I2C_ADDRESSINGMODE_7BIT;
  hi2c1.Init.DualAddressMode = I2C_DUALADDRESS_DISABLE;
  hi2c1.Init.OwnAddress2 = 0;
  hi2c1.Init.OwnAddress2Masks = I2C_OA2_NOMASK;
  hi2c1.Init.GeneralCallMode = I2C_GENERALCALL_DISABLE;
  hi2c1.Init.NoStretchMode = I2C_NOSTRETCH_DISABLE;
  if (HAL_I2C_Init(&hi2c1) != HAL_OK)
  {
    Error_Handler();
  }

  /** Configure Analogue filter
  */
  if (HAL_I2CEx_ConfigAnalogFilter(&hi2c1, I2C_ANALOGFILTER_ENABLE) != HAL_OK)
  {
    Error_Handler();
  }

  /** Configure Digital filter
  */
  if (HAL_I2CEx_ConfigDigitalFilter(&hi2c1, 0) != HAL_OK)
  {
    Error_Handler();
  }

}

static void MX_SPI1_Init(void)
{

  /* SPI1 parameter configuration*/
  hspi1.Instance = SPI1;
  hspi1.Init.Mode = SPI_MODE_MASTER;
  hspi1.Init.Direction = SPI_DIRECTION_2LINES;
  hspi1.Init.DataSize = SPI_DATASIZE_4BIT;
  hspi1.Init.CLKPolarity = SPI_POLARITY_LOW;
  hspi1.Init.CLKPhase = SPI_PHASE_1EDGE;
  hspi1.Init.NSS = SPI_NSS_SOFT;
  hspi1.Init.BaudRatePrescaler = SPI_BAUDRATEPRESCALER_4;
  hspi1.Init.FirstBit = SPI_FIRSTBIT_MSB;
  hspi1.Init.TIMode = SPI_TIMODE_DISABLE;
  hspi1.Init.CRCCalculation = SPI_CRCCALCULATION_DISABLE;
  hspi1.Init.CRCPolynomial = 7;
  hspi1.Init.CRCLength = SPI_CRC_LENGTH_DATASIZE;
  hspi1.Init.NSSPMode = SPI_NSS_PULSE_ENABLE;
  if (HAL_SPI_Init(&hspi1) != HAL_OK)
  {
    Error_Handler();
  }

}

static void MX_TIM1_Init(void)
{

  TIM_ClockConfigTypeDef sClockSourceConfig = {0};
  TIM_MasterConfigTypeDef sMasterConfig = {0};
  TIM_OC_InitTypeDef sConfigOC = {0};
  TIM_BreakDeadTimeConfigTypeDef sBreakDeadTimeConfig = {0};

  htim1.Instance = TIM1;
  htim1.Init.Prescaler = 0;
  htim1.Init.CounterMode = TIM_COUNTERMODE_UP;
  htim1.Init.Period = 65535;
  htim1.Init.ClockDivision = TIM_CLOCKDIVISION_DIV1;
  htim1.Init.RepetitionCounter = 0;
  htim1.Init.AutoReloadPreload = TIM_AUTORELOAD_PRELOAD_DISABLE;
  if (HAL_TIM_Base_Init(&htim1) != HAL_OK)
  {
    Error_Handler();
  }
  sClockSourceConfig.ClockSource = TIM_CLOCKSOURCE_INTERNAL;
  if (HAL_TIM_ConfigClockSource(&htim1, &sClockSourceConfig) != HAL_OK)
  {
    Error_Handler();
  }
  if (HAL_TIM_PWM_Init(&htim1) != HAL_OK)
  {
    Error_Handler();
  }
  sMasterConfig.MasterOutputTrigger = TIM_TRGO_RESET;
  sMasterConfig.MasterOutputTrigger2 = TIM_TRGO2_RESET;
  sMasterConfig.MasterSlaveMode = TIM_MASTERSLAVEMODE_DISABLE;
  if (HAL_TIMEx_MasterConfigSynchronization(&htim1, &sMasterConfig) != HAL_OK)
  {
    Error_Handler();
  }
  sConfigOC.OCMode = TIM_OCMODE_PWM1;
  sConfigOC.Pulse = 0;
  sConfigOC.OCPolarity = TIM_OCPOLARITY_HIGH;
  sConfigOC.OCNPolarity = TIM_OCNPOLARITY_HIGH;
  sConfigOC.OCFastMode = TIM_OCFAST_DISABLE;
  sConfigOC.OCIdleState = TIM_OCIDLESTATE_RESET;
  sConfigOC.OCNIdleState = TIM_OCNIDLESTATE_RESET;
  if (HAL_TIM_PWM_ConfigChannel(&htim1, &sConfigOC, TIM_CHANNEL_1) != HAL_OK)
  {
    Error_Handler();
  }
  sBreakDeadTimeConfig.OffStateRunMode = TIM_OSSR_DISABLE;
  sBreakDeadTimeConfig.OffStateIDLEMode = TIM_OSSI_DISABLE;
  sBreakDeadTimeConfig.LockLevel = TIM_LOCKLEVEL_OFF;
  sBreakDeadTimeConfig.DeadTime = 0;
  sBreakDeadTimeConfig.BreakState = TIM_BREAK_DISABLE;
  sBreakDeadTimeConfig.BreakPolarity = TIM_BREAKPOLARITY_HIGH;
  sBreakDeadTimeConfig.BreakFilter = 0;
  sBreakDeadTimeConfig.Break2State = TIM_BREAK2_DISABLE;
  sBreakDeadTimeConfig.Break2Polarity = TIM_BREAK2POLARITY_HIGH;
  sBreakDeadTimeConfig.Break2Filter = 0;
  sBreakDeadTimeConfig.AutomaticOutput = TIM_AUTOMATICOUTPUT_DISABLE;
  if (HAL_TIMEx_ConfigBreakDeadTime(&htim1, &sBreakDeadTimeConfig) != HAL_OK)
  {
    Error_Handler();
  }
  HAL_TIM_MspPostInit(&htim1);

}

static void MX_TIM2_Init(void)
{

  TIM_ClockConfigTypeDef sClockSourceConfig = {0};
  TIM_MasterConfigTypeDef sMasterConfig = {0};
  TIM_OC_InitTypeDef sConfigOC = {0};

  htim2.Instance = TIM2;
  htim2.Init.Prescaler = 0;
  htim2.Init.CounterMode = TIM_COUNTERMODE_UP;
  htim2.Init.Period = 4294967295;
  htim2.Init.ClockDivision = TIM_CLOCKDIVISION_DIV1;
  htim2.Init.AutoReloadPreload = TIM_AUTORELOAD_PRELOAD_DISABLE;
  if (HAL_TIM_Base_Init(&htim2) != HAL_OK)
  {
    Error_Handler();
  }
  sClockSourceConfig.ClockSource = TIM_CLOCKSOURCE_INTERNAL;
  if (HAL_TIM_ConfigClockSource(&htim2, &sClockSourceConfig) != HAL_OK)
  {
    Error_Handler();
  }
  if (HAL_TIM_PWM_Init(&htim2) != HAL_OK)
  {
    Error_Handler();
  }
  sMasterConfig.MasterOutputTrigger = TIM_TRGO_RESET;
  sMasterConfig.MasterSlaveMode = TIM_MASTERSLAVEMODE_DISABLE;
  if (HAL_TIMEx_MasterConfigSynchronization(&htim2, &sMasterConfig) != HAL_OK)
  {
    Error_Handler();
  }
  sConfigOC.OCMode = TIM_OCMODE_PWM1;
  sConfigOC.Pulse = 0;
  sConfigOC.OCPolarity = TIM_OCPOLARITY_HIGH;
  sConfigOC.OCFastMode = TIM_OCFAST_DISABLE;
  if (HAL_TIM_PWM_ConfigChannel(&htim2, &sConfigOC, TIM_CHANNEL_3) != HAL_OK)
  {
    Error_Handler();
  }
  HAL_TIM_MspPostInit(&htim2);

}

static void MX_TIM6_Init(void)
{

  TIM_MasterConfigTypeDef sMasterConfig = {0};

  htim6.Instance = TIM6;
  htim6.Init.Prescaler = 4800-1;
  htim6.Init.CounterMode = TIM_COUNTERMODE_UP;
  htim6.Init.Period = 100-1;
  htim6.Init.AutoReloadPreload = TIM_AUTORELOAD_PRELOAD_DISABLE;
  if (HAL_TIM_Base_Init(&htim6) != HAL_OK)
  {
    Error_Handler();
  }
  sMasterConfig.MasterOutputTrigger = TIM_TRGO_RESET;
  sMasterConfig.MasterSlaveMode = TIM_MASTERSLAVEMODE_DISABLE;
  if (HAL_TIMEx_MasterConfigSynchronization(&htim6, &sMasterConfig) != HAL_OK)
  {
    Error_Handler();
  }

}

static void MX_TIM7_Init(void)
{

  TIM_MasterConfigTypeDef sMasterConfig = {0};

  htim7.Instance = TIM7;
  htim7.Init.Prescaler = 4800-1;
  htim7.Init.CounterMode = TIM_COUNTERMODE_UP;
  htim7.Init.Period = 100-1;
  htim7.Init.AutoReloadPreload = TIM_AUTORELOAD_PRELOAD_DISABLE;
  if (HAL_TIM_Base_Init(&htim7) != HAL_OK)
  {
    Error_Handler();
  }
  sMasterConfig.MasterOutputTrigger = TIM_TRGO_RESET;
  sMasterConfig.MasterSlaveMode = TIM_MASTERSLAVEMODE_DISABLE;
  if (HAL_TIMEx_MasterConfigSynchronization(&htim7, &sMasterConfig) != HAL_OK)
  {
    Error_Handler();
  }

}

static void MX_TIM16_Init(void)
{

  htim16.Instance = TIM16;
  htim16.Init.Prescaler = 4800-1;
  htim16.Init.CounterMode = TIM_COUNTERMODE_UP;
  htim16.Init.Period = 100-1;
  htim16.Init.ClockDivision = TIM_CLOCKDIVISION_DIV1;
  htim16.Init.RepetitionCounter = 0;
  htim16.Init.AutoReloadPreload = TIM_AUTORELOAD_PRELOAD_DISABLE;
  if (HAL_TIM_Base_Init(&htim16) != HAL_OK)
  {
    Error_Handler();
  }

}

static void MX_USART1_UART_Init(void)
{

  huart1.Instance = USART1;
  huart1.Init.BaudRate = 14400;
  huart1.Init.WordLength = UART_WORDLENGTH_8B;
  huart1.Init.StopBits = UART_STOPBITS_1;
  huart1.Init.Parity = UART_PARITY_NONE;
  huart1.Init.Mode = UART_MODE_TX_RX;
  huart1.Init.HwFlowCtl = UART_HWCONTROL_NONE;
  huart1.Init.OverSampling = UART_OVERSAMPLING_16;
  huart1.Init.OneBitSampling = UART_ONE_BIT_SAMPLE_DISABLE;
  huart1.AdvancedInit.AdvFeatureInit = UART_ADVFEATURE_NO_INIT;
  if (HAL_UART_Init(&huart1) != HAL_OK)
  {
    Error_Handler();
  }

}

static void MX_USB_PCD_Init(void)
{

  hpcd_USB_FS.Instance = USB;
  hpcd_USB_FS.Init.dev_endpoints = 8;
  hpcd_USB_FS.Init.speed = PCD_SPEED_FULL;
  hpcd_USB_FS.Init.phy_itface = PCD_PHY_EMBEDDED;
  hpcd_USB_FS.Init.low_power_enable = DISABLE;
  hpcd_USB_FS.Init.battery_charging_enable = DISABLE;
  if (HAL_PCD_Init(&hpcd_USB_FS) != HAL_OK)
  {
    Error_Handler();
  }

}

static void MX_GPIO_Init(void)
{
  GPIO_InitTypeDef GPIO_InitStruct = {0};

  /* GPIO Ports Clock Enable */
  __HAL_RCC_GPIOE_CLK_ENABLE();
  __HAL_RCC_GPIOC_CLK_ENABLE();
  __HAL_RCC_GPIOF_CLK_ENABLE();
  __HAL_RCC_GPIOA_CLK_ENABLE();
  __HAL_RCC_GPIOD_CLK_ENABLE();
  __HAL_RCC_GPIOB_CLK_ENABLE();

  /*Configure GPIO pin Output Level */
  HAL_GPIO_WritePin(GPIOE, CS_I2C_SPI_Pin|LD4_Pin|LD3_Pin|LD5_Pin
                          |LD7_Pin|LD9_Pin|LD10_Pin|LD8_Pin
                          |LD6_Pin, GPIO_PIN_RESET);

  /*Configure GPIO pin Output Level */
  HAL_GPIO_WritePin(GPIOD, GPIO_PIN_8|GPIO_PIN_9|GPIO_PIN_7, GPIO_PIN_RESET);

  /*Configure GPIO pins : CS_I2C_SPI_Pin LD4_Pin LD3_Pin LD5_Pin
                           LD7_Pin LD9_Pin LD10_Pin LD8_Pin
                           LD6_Pin */
  GPIO_InitStruct.Pin = CS_I2C_SPI_Pin|LD4_Pin|LD3_Pin|LD5_Pin
                          |LD7_Pin|LD9_Pin|LD10_Pin|LD8_Pin
                          |LD6_Pin;
  GPIO_InitStruct.Mode = GPIO_MODE_OUTPUT_PP;
  GPIO_InitStruct.Pull = GPIO_NOPULL;
  GPIO_InitStruct.Speed = GPIO_SPEED_FREQ_LOW;
  HAL_GPIO_Init(GPIOE, &GPIO_InitStruct);

  /*Configure GPIO pins : MEMS_INT4_Pin MEMS_INT1_Pin */
  GPIO_InitStruct.Pin = MEMS_INT4_Pin|MEMS_INT1_Pin;
  GPIO_InitStruct.Mode = GPIO_MODE_EVT_RISING;
  GPIO_InitStruct.Pull = GPIO_NOPULL;
  HAL_GPIO_Init(GPIOE, &GPIO_InitStruct);

  /*Configure GPIO pin : B1_Pin */
  GPIO_InitStruct.Pin = B1_Pin;
  GPIO_InitStruct.Mode = GPIO_MODE_INPUT;
  GPIO_InitStruct.Pull = GPIO_NOPULL;
  HAL_GPIO_Init(B1_GPIO_Port, &GPIO_InitStruct);

  /*Configure GPIO pins : PD8 PD9 PD7 */
  GPIO_InitStruct.Pin = GPIO_PIN_8|GPIO_PIN_9|GPIO_PIN_7;
  GPIO_InitStruct.Mode = GPIO_MODE_OUTPUT_PP;
  GPIO_InitStruct.Pull = GPIO_NOPULL;
  GPIO_InitStruct.Speed = GPIO_SPEED_FREQ_LOW;
  HAL_GPIO_Init(GPIOD, &GPIO_InitStruct);

  /*Configure GPIO pins : PD1 PD2 PD3 */
  GPIO_InitStruct.Pin = GPIO_PIN_1|GPIO_PIN_2|GPIO_PIN_3;
  GPIO_InitStruct.Mode = GPIO_MODE_IT_RISING_FALLING;
  GPIO_InitStruct.Pull = GPIO_PULLDOWN;
  HAL_GPIO_Init(GPIOD, &GPIO_InitStruct);

  /*Configure GPIO pin : PD4 */
  GPIO_InitStruct.Pin = GPIO_PIN_4;
  GPIO_InitStruct.Mode = GPIO_MODE_IT_RISING;
  GPIO_InitStruct.Pull = GPIO_NOPULL;
  HAL_GPIO_Init(GPIOD, &GPIO_InitStruct);

  /* EXTI interrupt init*/
  HAL_NVIC_SetPriority(EXTI1_IRQn, 0, 0);
  HAL_NVIC_EnableIRQ(EXTI1_IRQn);

  HAL_NVIC_SetPriority(EXTI2_TSC_IRQn, 0, 0);
  HAL_NVIC_EnableIRQ(EXTI2_TSC_IRQn);

  HAL_NVIC_SetPriority(EXTI3_IRQn, 0, 0);
  HAL_NVIC_EnableIRQ(EXTI3_IRQn);

  HAL_NVIC_SetPriority(EXTI4_IRQn, 0, 0);
  HAL_NVIC_EnableIRQ(EXTI4_IRQn);

}

void Error_Handler(void)
{
  __disable_irq();
  while (1)
  {
  }
}
